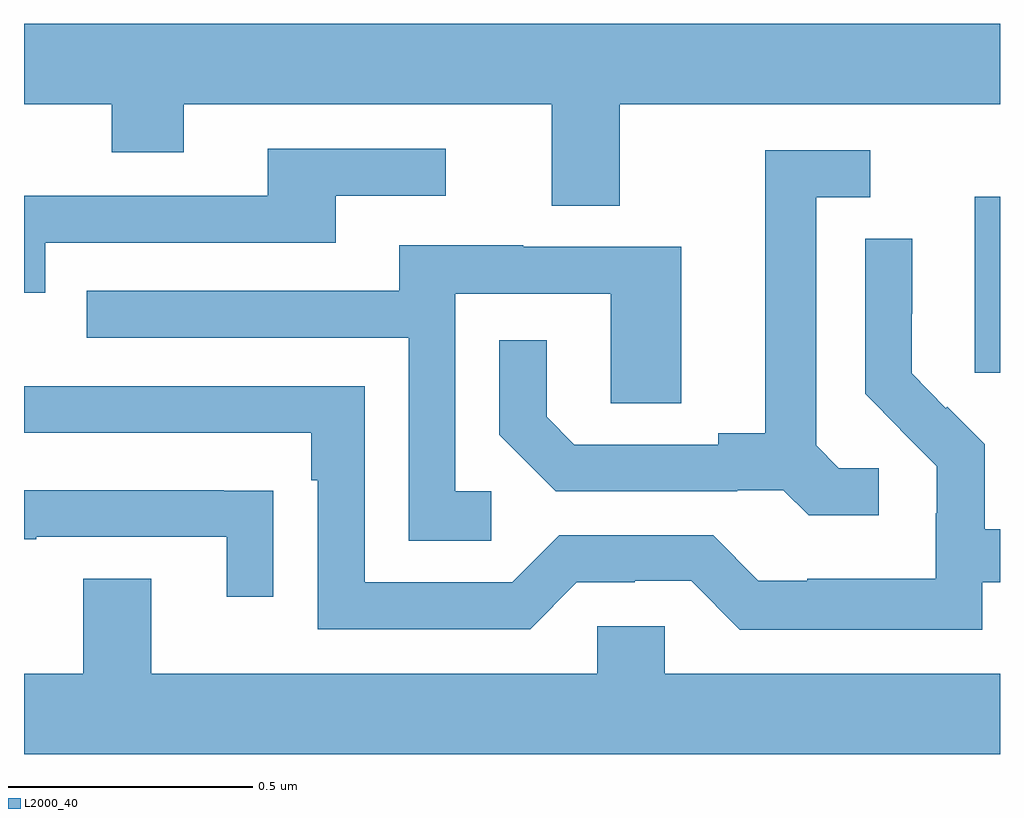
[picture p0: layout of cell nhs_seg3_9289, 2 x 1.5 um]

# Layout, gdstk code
import gdstk
lib = gdstk.Library(unit=1e-6, precision=1e-09)
def R(c, l, rs):  # rectangles x0, y0, x1, y1
    for r in rs: c.add(gdstk.rectangle(r[:2], r[2:], *l))
def P(c, l, *ps):  # polygons
    for p in ps: c.add(gdstk.Polygon(p, *l))
L2000_40 = (2000, 40)

nhs_seg3_9289 = lib.new_cell('nhs_seg3_9289')
R(nhs_seg3_9289, L2000_40, [(227.948,736.329,228,736.69)])
P(nhs_seg3_9289, L2000_40, [(227.221,736.88),(228,736.88),(228,737.044),(226,737.044),(226,736.88),(226.18,736.88),(226.18,736.781),(226.327,736.781),(226.327,736.88),(227.081,736.88),(227.081,736.672),(227.221,736.672)],
  [(226.044,736.596),(226.639,736.596),(226.639,736.692),(226.864,736.692),(226.864,736.788),(226.499,736.788),(226.499,736.692),(226,736.692),(226,736.493),(226.044,736.493)],
  [(227.752,736.134),(227.67,736.134),(227.623,736.181),(227.623,736.689),(227.734,736.689),(227.734,736.785),(227.519,736.785),(227.519,736.205),(227.423,736.205),(227.423,736.182),(227.128,736.182),(227.071,736.239),(227.071,736.396),(226.974,736.396),(226.974,736.202),(227.09,736.086),(227.462,736.086),(227.462,736.089),(227.556,736.089),(227.608,736.037),(227.752,736.037)],
  [(227.964,735.9),(228,735.9),(228,736.009),(227.969,736.009),(227.969,736.183),(227.892,736.26),(227.889,736.257),(227.819,736.328),(227.819,736.45),(227.82,736.45),(227.82,736.604),(227.724,736.604),(227.724,736.286),(227.797,736.213),(227.796,736.212),(227.87,736.138),(227.87,736.041),(227.868,736.041),(227.868,735.907),(227.605,735.907),(227.605,735.903),(227.505,735.903),(227.412,735.996),(227.097,735.996),(227.001,735.9),(226.698,735.9),(226.698,736.302),(226,736.302),(226,736.206),(226.589,736.206),(226.589,736.109),(226.602,736.109),(226.602,735.804),(227.037,735.804),(227.133,735.9),(227.252,735.9),(227.252,735.903),(227.367,735.903),(227.467,735.803),(227.964,735.803)],
  [(226.957,736.086),(226.884,736.086),(226.884,736.491),(227.202,736.491),(227.202,736.267),(227.347,736.267),(227.347,736.587),(227.023,736.587),(227.023,736.591),(226.769,736.591),(226.769,736.497),(226.129,736.497),(226.129,736.401),(226.788,736.401),(226.788,735.985),(226.957,735.985)],
  [(226.511,736.088),(226.409,736.088),(226.409,736.089),(226,736.089),(226,735.988),(226.025,735.988),(226.025,735.993),(226.415,735.993),(226.415,735.87),(226.511,735.87)],
  [(228,735.712),(227.313,735.712),(227.313,735.81),(227.175,735.81),(227.175,735.712),(226.261,735.712),(226.261,735.907),(226.121,735.907),(226.121,735.712),(226,735.712),(226,735.548),(228,735.548)])

lib.write_gds('nhs_seg3_9289.gds')
